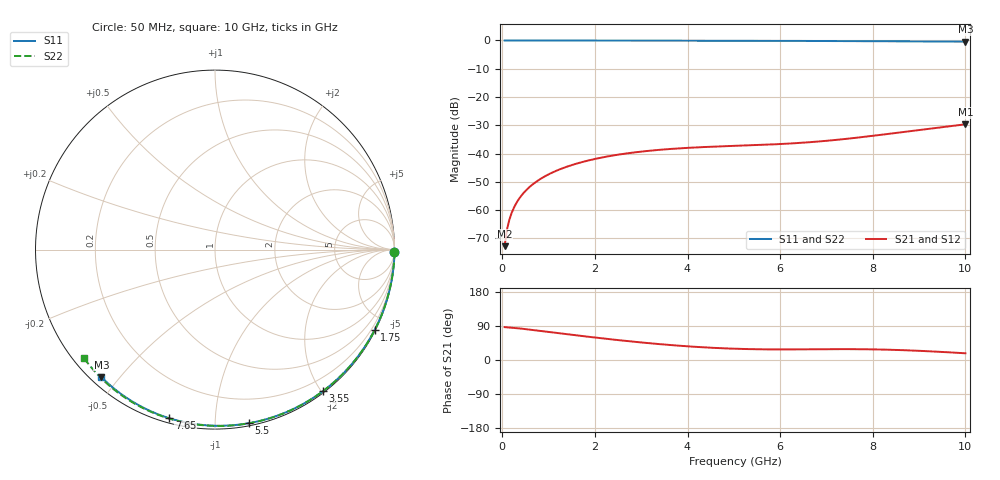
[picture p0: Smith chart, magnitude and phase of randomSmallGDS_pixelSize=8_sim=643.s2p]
! freq	dB(S11)	phase(S11)	dB(S12)	phase(S12)
!  dB(S21)	phase(S21)	dB(S22)	phase(S22)
!S-par simulation data
#  GHz  S  DB  R 50
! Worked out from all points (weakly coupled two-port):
!   200 points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, 50 MHz to 10 GHz, reference 50 ohm
!   highest |S21| = -29.64 dB at 10 GHz (marker M1); lowest = -72.7 dB at 50 MHz (marker M2)
!   lowest |S11| = -0.4 dB at 10 GHz (marker M3), VSWR 39.86, Z = 1.51 - j22.4 ohm
!   |S11| at or under -10 dB: nowhere
!   |S22| runs from -0.5 to 0.0 dB; largest |S21 - S12| = 0
!   S11 on the Smith chart (normalised r, x): 50 MHz: open; 1.75 GHz: 0.04, -4.22; 3.55 GHz: 0.02, -2.02; 5.5 GHz: 0.02, -1.21; 7.65 GHz: 0.02, -0.76; 10 GHz: 0.03, -0.45
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0.05  -0.00 -0.8  -72.72 86.8  -72.72 86.8  -0.00 -0.8
0.1  -0.00 -1.6  -66.95 86.2  -66.95 86.2  -0.00 -1.7
0.15  -0.00 -2.3  -63.52 85.9  -63.52 85.9  -0.00 -2.5
0.2  -0.00 -3.1  -61.07 85.5  -61.07 85.5  -0.00 -3.3
0.25  -0.00 -3.9  -59.15 84.9  -59.15 84.9  -0.00 -4.1
0.35  -0.00 -5.4  -56.26 83.7  -56.26 83.7  -0.00 -5.8
0.5  -0.01 -7.7  -53.20 81.5  -53.20 81.5  -0.01 -8.3
0.7  -0.01 -10.8  -50.33 78.6  -50.33 78.6  -0.01 -11.5
1  -0.02 -15.4  -47.33 74.0  -47.33 74.0  -0.02 -16.4
1.35  -0.03 -20.7  -44.89 68.8  -44.89 68.8  -0.03 -22.1
1.75  -0.03 -26.7  -42.87 62.9  -42.87 62.9  -0.04 -28.5
2.5  -0.05 -37.7  -40.38 52.5  -40.38 52.5  -0.05 -40.3
3.4  -0.07 -50.6  -38.66 41.8  -38.66 41.8  -0.07 -54.0
3.55  -0.07 -52.8  -38.46 40.3  -38.46 40.3  -0.08 -56.2
4.3  -0.09 -63.1  -37.72 33.8  -37.72 33.8  -0.10 -67.2
5.05  -0.11 -73.1  -37.24 29.6  -37.24 29.6  -0.12 -77.8
5.5  -0.13 -78.9  -36.98 28.3  -36.98 28.3  -0.14 -84.0
6.7  -0.18 -93.9  -35.89 28.3  -35.89 28.3  -0.19 -99.9
7.65  -0.23 -105.2  -34.39 28.6  -34.39 28.6  -0.25 -111.9
8.35  -0.28 -113.3  -33.01 27.1  -33.01 27.1  -0.30 -120.5
9.2  -0.36 -122.8  -31.25 23.1  -31.25 23.1  -0.38 -130.8
10  -0.44 -131.7  -29.64 17.7  -29.64 17.7  -0.47 -140.5
